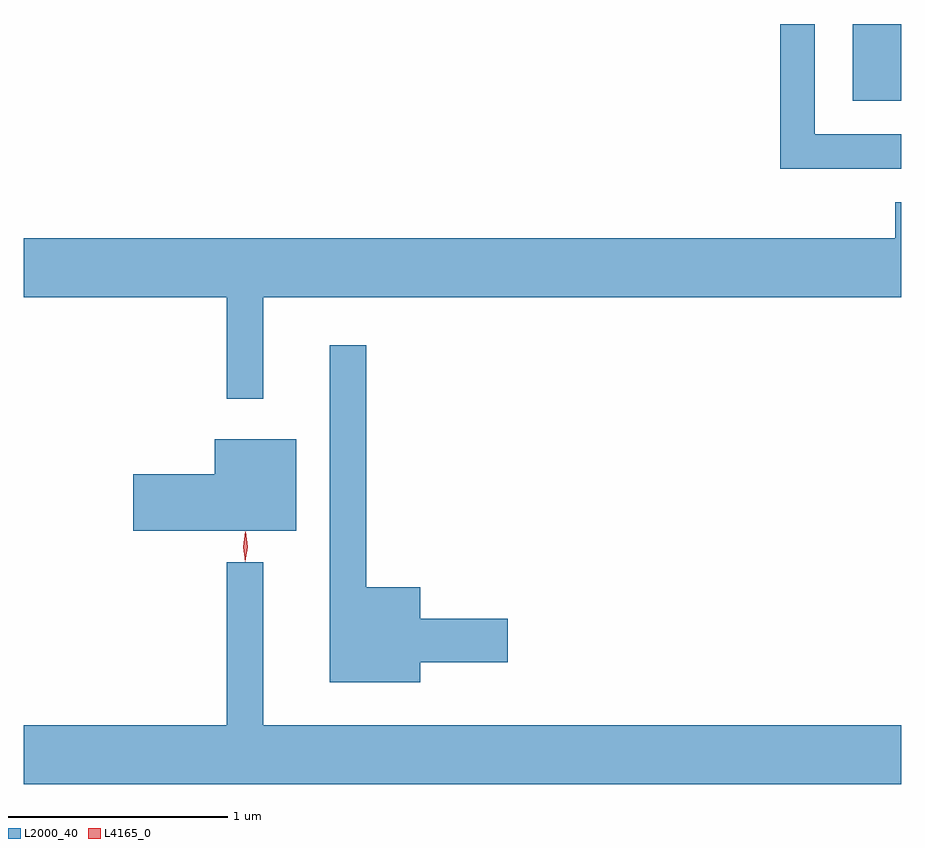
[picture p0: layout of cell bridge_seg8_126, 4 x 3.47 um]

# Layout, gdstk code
import gdstk
lib = gdstk.Library(unit=1e-6, precision=1e-09)
def R(c, l, rs):  # rectangles x0, y0, x1, y1
    for r in rs: c.add(gdstk.rectangle(r[:2], r[2:], *l))
def P(c, l, *ps):  # polygons
    for p in ps: c.add(gdstk.Polygon(p, *l))
L2000_40 = (2000, 40)
L4165_0 = (4165, 0)

bridge_seg8_126 = lib.new_cell('bridge_seg8_126')
R(bridge_seg8_126, L2000_40, [(1684.146,1855.071,1684.367,1855.422)])
P(bridge_seg8_126, L2000_40, [(1684.367,1854.919),(1683.974,1854.919),(1683.974,1855.422),(1683.816,1855.422),(1683.816,1854.761),(1684.367,1854.761)],
  [(1681.459,1854.176),(1684.367,1854.176),(1684.367,1854.609),(1684.341,1854.609),(1684.341,1854.444),(1680.367,1854.444),(1680.367,1854.176),(1681.291,1854.176),(1681.291,1853.713),(1681.459,1853.713)],
  [(1682.174,1852.511),(1682.574,1852.511),(1682.574,1852.709),(1682.174,1852.709),(1682.174,1852.854),(1681.929,1852.854),(1681.929,1853.958),(1681.761,1853.958),(1681.761,1852.421),(1682.174,1852.421)],
  [(1681.609,1853.529),(1681.236,1853.529),(1681.236,1853.369),(1680.866,1853.369),(1680.866,1853.111),(1681.609,1853.111)],
  [(1684.367,1852.224),(1681.459,1852.224),(1681.459,1852.968),(1681.291,1852.968),(1681.291,1852.224),(1680.367,1852.224),(1680.367,1851.956),(1684.367,1851.956)])
P(bridge_seg8_126, L4165_0, [(1681.376,1852.973),(1681.376,1852.973),(1681.367,1853.036),(1681.377,1853.099),(1681.378,1853.1),(1681.378,1853.099),(1681.387,1853.036),(1681.377,1852.973)],
  [(1681.376,1852.97),(1681.376,1852.97),(1681.367,1853.038),(1681.377,1853.106),(1681.378,1853.106),(1681.378,1853.106),(1681.387,1853.038),(1681.377,1852.97)])

lib.write_gds('bridge_seg8_126.gds')
